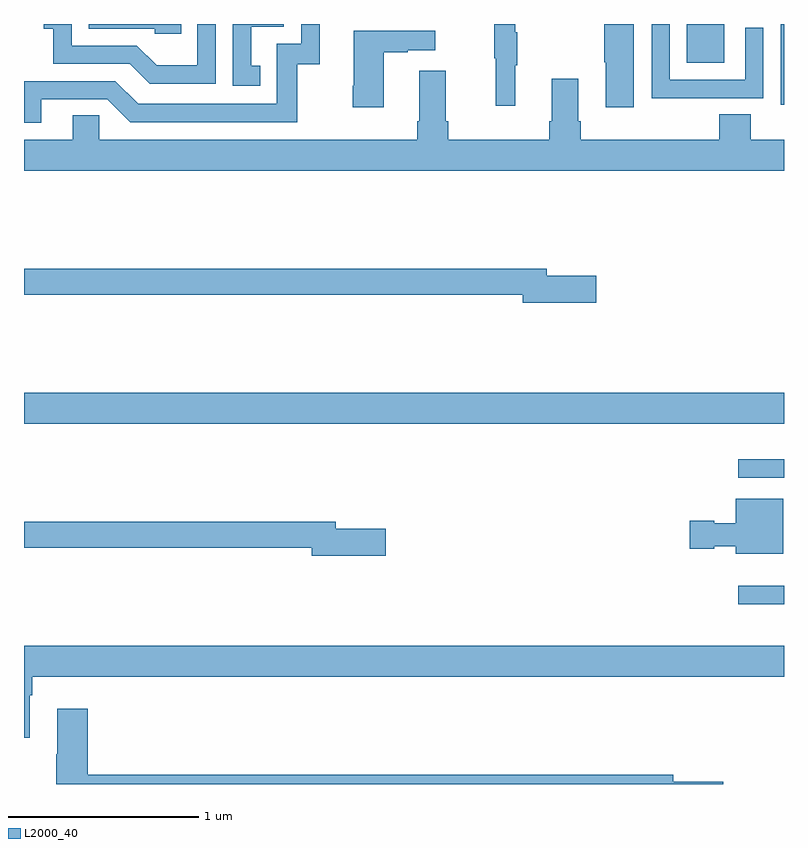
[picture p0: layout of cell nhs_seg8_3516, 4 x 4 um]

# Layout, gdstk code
import gdstk
lib = gdstk.Library(unit=1e-6, precision=1e-09)
def R(c, l, rs):  # rectangles x0, y0, x1, y1
    for r in rs: c.add(gdstk.rectangle(r[:2], r[2:], *l))
def P(c, l, *ps):  # polygons
    for p in ps: c.add(gdstk.Polygon(p, *l))
L2000_40 = (2000, 40)

nhs_seg8_3516 = lib.new_cell('nhs_seg8_3516')
R(nhs_seg8_3516, L2000_40, [(330.759,1152.846,331,1152.943), (330.759,1153.512,331,1153.61), (327,1153.796,331,1153.96), (330.984,1155.474,331,1155.9)])
P(nhs_seg8_3516, L2000_40, [(328.244,1155.681),(328.195,1155.681),(328.195,1155.885),(328.368,1155.885),(328.368,1155.9),(328.098,1155.9),(328.098,1155.576),(328.244,1155.576)],
  [(327.091,1155.504),(327.438,1155.504),(327.558,1155.384),(328.438,1155.384),(328.438,1155.687),(328.556,1155.687),(328.556,1155.9),(328.458,1155.9),(328.458,1155.795),(328.329,1155.795),(328.329,1155.48),(327.6,1155.48),(327.48,1155.6),(327,1155.6),(327,1155.381),(327.091,1155.381)],
  [(330.685,1155.9),(330.527,1155.9),(330.527,1155.898),(330.488,1155.898),(330.488,1155.695),(330.685,1155.695)],
  [(328.008,1155.9),(327.912,1155.9),(327.912,1155.682),(327.698,1155.682),(327.594,1155.786),(327.252,1155.786),(327.252,1155.9),(327.105,1155.9),(327.105,1155.875),(327.154,1155.875),(327.154,1155.69),(327.557,1155.69),(327.662,1155.585),(328.008,1155.585)],
  [(330.208,1155.9),(330.055,1155.9),(330.055,1155.7),(330.062,1155.7),(330.062,1155.462),(330.208,1155.462)],
  [(327.827,1155.9),(327.342,1155.9),(327.342,1155.876),(327.687,1155.876),(327.687,1155.849),(327.827,1155.849)],
  [(329.585,1155.683),(329.596,1155.683),(329.596,1155.857),(329.585,1155.857),(329.585,1155.9),(329.475,1155.9),(329.475,1155.72),(329.482,1155.72),(329.482,1155.471),(329.585,1155.471)],
  [(330.575,1155.51),(330.891,1155.51),(330.891,1155.88),(330.795,1155.88),(330.795,1155.606),(330.399,1155.606),(330.399,1155.9),(330.303,1155.9),(330.303,1155.509),(330.575,1155.509)],
  [(328.894,1155.751),(329.021,1155.751),(329.021,1155.761),(329.164,1155.761),(329.164,1155.865),(328.736,1155.865),(328.736,1155.574),(328.729,1155.574),(328.729,1155.462),(328.894,1155.462)],
  [(331,1155.292),(330.824,1155.292),(330.824,1155.425),(330.659,1155.425),(330.659,1155.292),(329.93,1155.292),(329.93,1155.388),(329.917,1155.388),(329.917,1155.613),(329.777,1155.613),(329.777,1155.388),(329.765,1155.388),(329.765,1155.292),(329.234,1155.292),(329.234,1155.388),(329.221,1155.388),(329.221,1155.655),(329.081,1155.655),(329.081,1155.388),(329.069,1155.388),(329.069,1155.292),(327.396,1155.292),(327.396,1155.419),(327.257,1155.419),(327.257,1155.292),(327,1155.292),(327,1155.128),(331,1155.128)],
  [(330.013,1154.576),(329.752,1154.576),(329.752,1154.612),(327,1154.612),(327,1154.476),(329.624,1154.476),(329.624,1154.434),(330.013,1154.434)],
  [(330.997,1153.402),(330.746,1153.402),(330.746,1153.273),(330.633,1153.273),(330.633,1153.286),(330.504,1153.286),(330.504,1153.139),(330.633,1153.139),(330.633,1153.151),(330.746,1153.151),(330.746,1153.112),(330.997,1153.112)],
  [(328.903,1153.244),(328.642,1153.244),(328.642,1153.28),(327,1153.28),(327,1153.144),(328.514,1153.144),(328.514,1153.102),(328.903,1153.102)],
  [(327.031,1152.368),(327.044,1152.368),(327.044,1152.464),(331,1152.464),(331,1152.628),(327,1152.628),(327,1152.144),(327.031,1152.144)],
  [(330.679,1151.912),(330.418,1151.912),(330.418,1151.948),(327.335,1151.948),(327.335,1152.295),(327.176,1152.295),(327.176,1152.056),(327.169,1152.056),(327.169,1151.9),(330.679,1151.9)])

lib.write_gds('nhs_seg8_3516.gds')
